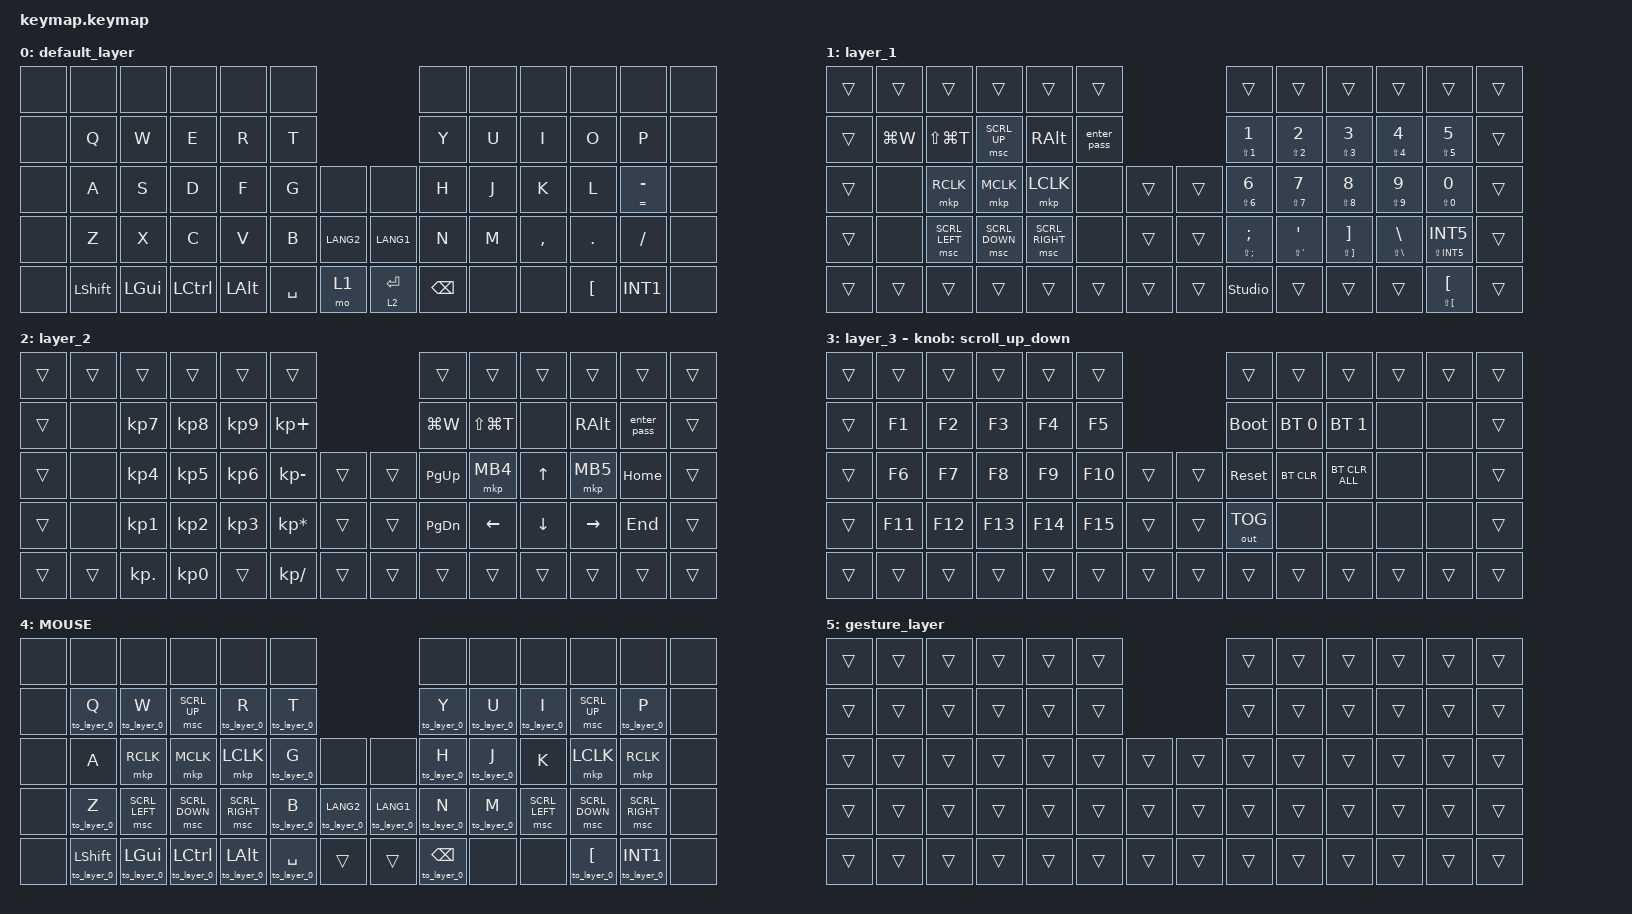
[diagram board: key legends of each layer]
#include <input/processors.dtsi>
#include <dt-bindings/zmk/input_transform.h>
#include <zephyr/dt-bindings/input/input-event-codes.h>
#include <behaviors.dtsi>
#include <dt-bindings/zmk/bt.h>
#include <dt-bindings/zmk/keys.h>
#include <dt-bindings/zmk/outputs.h>
#include <dt-bindings/zmk/pointing.h>

#undef ZMK_POINTING_DEFAULT_SCRL_VAL

#define ZMK_POINTING_DEFAULT_SCRL_VAL 100
#define MOUSE 4
#define GESTURE 5

&mt {
    flavor = "tap-preferred";
    quick-tap-ms = <0>;
    tapping-term-ms = <150>;
};

&lt {
    quick-tap-ms = <300>;
    flavor = "tap-preferred";
};

/ {
    combos {
        compatible = "zmk,combos";

        esc_combo {
            bindings = <&kp ESC>;
            key-positions = <13 14>;
        };

        tab_combo {
            bindings = <&kp TAB>;
            key-positions = <25 26>;
        };

        eisu {
            bindings = <&kp LANG2>;
            key-positions = <43 42>;
        };

        kana {
            bindings = <&kp LANG1>;
            key-positions = <46 47>;
        };

        scroll_layer {
            bindings = <&mo 3>;
            key-positions = <36 35>;
        };

        gesture_layer {
            bindings = <&mo 5>;
            key-positions = <50 49>;
        };
    };

    macros {
        to_layer_0: to_layer_0 {
            compatible = "zmk,behavior-macro-one-param";
            #binding-cells = <1>;
            bindings = <&to 0 &macro_param_1to1 &kp MACRO_PLACEHOLDER>;
            label = "TO_LAYER_0";
        };

        enter_pass: enter_pass {
            compatible = "zmk,behavior-macro";
            #binding-cells = <0>;
            bindings = <&none>; // ENTER_PASS_PH
            label = "ENTER_PASS";
        };
    };

    behaviors {
        lt_to_layer_0: lt_to_layer_0 {
            compatible = "zmk,behavior-hold-tap";
            label = "LAYER_TAP_TO_0";
            bindings = <&mo>, <&to_layer_0>;

            #binding-cells = <2>;
            tapping-term-ms = <200>;
        };

        scroll_up_down: mouse_wheel_up_down {
            compatible = "zmk,behavior-sensor-rotate";
            #sensor-binding-cells = <0>;
            bindings = <&msc SCRL_UP>, <&msc SCRL_DOWN>;

            tap-ms = <20>;
        };

        scroll_right_left: mouse_wheel_right_left {
            compatible = "zmk,behavior-sensor-rotate";
            #sensor-binding-cells = <0>;
            bindings = <&msc SCRL_RIGHT>, <&msc SCRL_LEFT>;

            tap-ms = <20>;
        };
    };

    keymap {
        compatible = "zmk,keymap";

        default_layer {
            bindings = <
&none  &none           &none     &none             &none         &none                                         &none          &none  &none      &none     &none            &none
&none  &kp Q           &kp W     &kp E             &kp R         &kp T                                         &kp Y          &kp U  &kp I      &kp O     &kp P            &none
&none  &kp A           &kp S     &kp D             &kp F         &kp G      &none      &none                   &kp H          &kp J  &kp K      &kp L     &mt EQUAL MINUS  &none
&none  &kp Z           &kp X     &kp C             &kp V         &kp B      &kp LANG2  &kp LANG1               &kp N          &kp M  &kp COMMA  &kp DOT   &kp SLASH        &none
&none  &kp LEFT_SHIFT  &kp LGUI  &kp LEFT_CONTROL  &kp LEFT_ALT  &kp SPACE  &mo 1      &lt_to_layer_0 2 ENTER  &kp BACKSPACE  &none  &none      &kp LBKT  &kp INT1         &none
            >;
        };

        layer_1 {
            bindings = <
&trans  &trans     &trans          &trans          &trans           &trans                       &trans             &trans           &trans                     &trans             &trans             &trans
&trans  &kp LG(W)  &kp LS(LG(T))   &msc SCRL_UP    &kp RIGHT_ALT    &enter_pass                  &mt LS(N1) N1      &mt LS(N2) N2    &mt LS(N3) N3              &mt LS(N4) N4      &mt LS(N5) N5      &trans
&trans  &none      &mkp RCLK       &mkp MCLK       &mkp LCLK        &none        &trans  &trans  &mt LS(N6) N6      &mt LS(N7) N7    &mt LS(NUMBER_8) NUMBER_8  &mt LS(N9) N9      &mt LS(N0) N0      &trans
&trans  &none      &msc SCRL_LEFT  &msc SCRL_DOWN  &msc SCRL_RIGHT  &none        &trans  &trans  &mt LS(SEMI) SEMI  &mt LS(SQT) SQT  &mt LS(RBKT) RBKT          &mt LS(BSLH) BSLH  &mt LS(INT5) INT5  &trans
&trans  &trans     &trans          &trans          &trans           &trans       &trans  &trans  &studio_unlock     &trans           &trans                     &trans             &mt LS(LBKT) LBKT  &trans
            >;
        };

        layer_2 {
            bindings = <
&trans  &trans  &trans      &trans     &trans     &trans                           &trans     &trans          &trans          &trans         &trans       &trans
&trans  &none   &kp KP_N7   &kp KP_N8  &kp KP_N9  &kp KP_PLUS                      &kp LG(W)  &kp LS(LG(T))   &none           &kp RIGHT_ALT  &enter_pass  &trans
&trans  &none   &kp KP_N4   &kp KP_N5  &kp KP_N6  &kp KP_MINUS     &trans  &trans  &kp PG_UP  &mkp MB4        &kp UP_ARROW    &mkp MB5       &kp HOME     &trans
&trans  &none   &kp KP_N1   &kp KP_N2  &kp KP_N3  &kp KP_MULTIPLY  &trans  &trans  &kp PG_DN  &kp LEFT_ARROW  &kp DOWN_ARROW  &kp RIGHT      &kp END      &trans
&trans  &trans  &kp KP_DOT  &kp KP_N0  &trans     &kp KP_SLASH     &trans  &trans  &trans     &trans          &trans          &trans         &trans       &trans
            >;
        };

        layer_3 {
            bindings = <
&trans  &trans   &trans   &trans   &trans   &trans                   &trans        &trans        &trans          &trans  &trans  &trans
&trans  &kp F1   &kp F2   &kp F3   &kp F4   &kp F5                   &bootloader   &bt BT_SEL 0  &bt BT_SEL 1    &none   &none   &trans
&trans  &kp F6   &kp F7   &kp F8   &kp F9   &kp F10  &trans  &trans  &sys_reset    &bt BT_CLR    &bt BT_CLR_ALL  &none   &none   &trans
&trans  &kp F11  &kp F12  &kp F13  &kp F14  &kp F15  &trans  &trans  &out OUT_TOG  &none         &none           &none   &none   &trans
&trans  &trans   &trans   &trans   &trans   &trans   &trans  &trans  &trans        &trans        &trans          &trans  &trans  &trans
            >;

            sensor-bindings = <&scroll_up_down>;
        };

        MOUSE {
            bindings = <
&none  &none               &none             &none                     &none                 &none                                                    &none                  &none          &none           &none             &none             &none
&none  &to_layer_0 Q       &to_layer_0 W     &msc SCRL_UP              &to_layer_0 R         &to_layer_0 T                                            &to_layer_0 Y          &to_layer_0 U  &to_layer_0 I   &msc SCRL_UP      &to_layer_0 P     &none
&none  &kp A               &mkp RCLK         &mkp MCLK                 &mkp LCLK             &to_layer_0 G      &none              &none              &to_layer_0 H          &to_layer_0 J  &kp K           &mkp LCLK         &mkp RCLK         &none
&none  &to_layer_0 Z       &msc SCRL_LEFT    &msc SCRL_DOWN            &msc SCRL_RIGHT       &to_layer_0 B      &to_layer_0 LANG2  &to_layer_0 LANG1  &to_layer_0 N          &to_layer_0 M  &msc SCRL_LEFT  &msc SCRL_DOWN    &msc SCRL_RIGHT   &none
&none  &to_layer_0 LSHIFT  &to_layer_0 LGUI  &to_layer_0 LEFT_CONTROL  &to_layer_0 LEFT_ALT  &to_layer_0 SPACE  &trans             &trans             &to_layer_0 BACKSPACE  &none          &none           &to_layer_0 LBKT  &to_layer_0 INT1  &none
            >;
        };

        gesture_layer {
            bindings = <
&trans  &trans  &trans  &trans  &trans  &trans                  &trans  &trans  &trans  &trans  &trans  &trans
&trans  &trans  &trans  &trans  &trans  &trans                  &trans  &trans  &trans  &trans  &trans  &trans
&trans  &trans  &trans  &trans  &trans  &trans  &trans  &trans  &trans  &trans  &trans  &trans  &trans  &trans
&trans  &trans  &trans  &trans  &trans  &trans  &trans  &trans  &trans  &trans  &trans  &trans  &trans  &trans
&trans  &trans  &trans  &trans  &trans  &trans  &trans  &trans  &trans  &trans  &trans  &trans  &trans  &trans
            >;
        };
    };

    conditional_layers { compatible = "zmk,conditional-layers"; };
};
